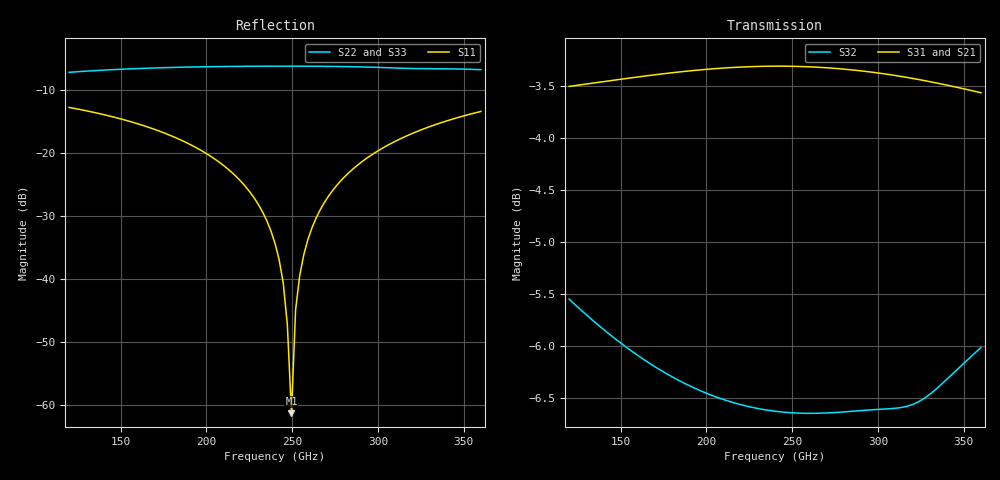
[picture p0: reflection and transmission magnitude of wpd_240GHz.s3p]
#  GHZ S DB R 50
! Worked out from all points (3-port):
!   101 points, 120 GHz to 360 GHz, reference 50 ohm
!   strongest paths, dB at 120 GHz, 180 GHz, 240 GHz, 300 GHz, 360 GHz:
!     S31: -3.5, -3.4, -3.3, -3.4, -3.6
!     S21: -3.5, -3.4, -3.3, -3.4, -3.6
!     S32: -5.5, -6.3, -6.6, -6.6, -6.0
!   lowest |S11| = -61.4 dB at 249.6 GHz (marker M1), VSWR 1.00, Z = 50 - j0.0712 ohm
!   |S11| at or under -10 dB: start of sweep to end of sweep
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120  -12.78 135.2  -3.50 -43.5  -3.50 -43.6
     -3.50 -43.5  -7.19 53.3  -5.55 -96.1
     -3.50 -43.6  -5.55 -96.1  -7.19 53.3
204  -20.81 103.3  -3.33 -75.4  -3.33 -75.4
     -3.33 -75.4  -6.29 10.7  -6.48 -153.3
     -3.33 -75.4  -6.48 -153.3  -6.29 10.7
240  -34.38 88.2  -3.31 -89.5  -3.31 -89.5
     -3.31 -89.5  -6.22 -4.0  -6.62 -177.1
     -3.31 -89.5  -6.62 -177.1  -6.22 -4.0
247.2  -47.32 80.0  -3.31 -92.3  -3.31 -92.3
       -3.31 -92.3  -6.22 -6.8  -6.63 178.2
       -3.31 -92.3  -6.63 178.2  -6.21 -6.9
249.6  -61.40 -56.7  -3.31 -93.2  -3.31 -93.3
       -3.31 -93.2  -6.22 -7.8  -6.64 176.6
       -3.31 -93.3  -6.64 176.6  -6.22 -7.9
252  -44.95 -89.7  -3.31 -94.2  -3.31 -94.2
     -3.31 -94.2  -6.22 -8.7  -6.64 175.0
     -3.31 -94.2  -6.64 175.0  -6.22 -8.8
254.4  -39.49 -93.1  -3.31 -95.1  -3.31 -95.1
       -3.31 -95.1  -6.22 -9.7  -6.64 173.4
       -3.31 -95.1  -6.64 173.4  -6.22 -9.8
268.8  -27.88 -100.7  -3.32 -100.8  -3.32 -100.8
       -3.32 -100.8  -6.24 -15.4  -6.64 163.9
       -3.32 -100.8  -6.64 163.9  -6.24 -15.5
302.4  -19.29 -114.2  -3.38 -113.9  -3.38 -114.0
       -3.38 -113.9  -6.43 -28.9  -6.60 141.5
       -3.38 -114.0  -6.60 141.5  -6.43 -29.0
360  -13.41 -136.2  -3.56 -136.1  -3.56 -136.2
     -3.56 -136.1  -6.77 -54.0  -6.01 103.5
     -3.56 -136.2  -6.01 103.5  -6.76 -54.1
